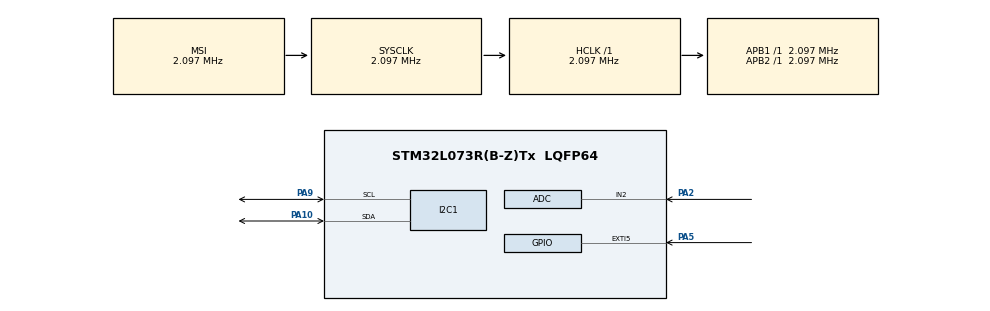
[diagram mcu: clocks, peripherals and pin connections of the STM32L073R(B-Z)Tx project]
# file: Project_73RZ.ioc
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Mcu.Family=STM32L0
Mcu.Name=STM32L073R(B-Z)Tx
Mcu.Package=LQFP64
NVIC.ADC1_COMP_IRQn=true\:0\:0\:false\:false\:true\:true\:true
NVIC.EXTI4_15_IRQn=true\:1\:0\:true\:false\:true\:true\:true
NVIC.I2C1_IRQn=true\:0\:0\:false\:false\:true\:true\:true
PA10.Mode=I2C
PA10.Signal=I2C1_SDA
PA13.Mode=Serial_Wire
PA13.Signal=SYS_SWDIO
PA14.Mode=Serial_Wire
PA14.Signal=SYS_SWCLK
PA2.Mode=IN2
PA2.Signal=ADC_IN2
PA5.Signal=GPXTI5
PA9.Mode=I2C
PA9.Signal=I2C1_SCL
ProjectManager.HeapSize=0x200
ProjectManager.StackSize=0x400
ProjectManager.TargetToolchain=STM32CubeIDE
RCC.AHBFreq_Value=2097000
RCC.APB1Freq_Value=2097000
RCC.APB1TimFreq_Value=2097000
RCC.APB2Freq_Value=2097000
RCC.APB2TimFreq_Value=2097000
RCC.HSE_VALUE=8000000
RCC.HSI16_VALUE=16000000
RCC.HSI48_VALUE=48000000
RCC.HSI_VALUE=16000000
RCC.MSI_VALUE=2097000
RCC.SYSCLKFreq_VALUE=2097000
RCC.VCOOutputFreq_Value=48000000
board=NUCLEO-L073RZ

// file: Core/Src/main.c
/* USER CODE BEGIN Header */
/**
  ******************************************************************************
  * @file           : main.c
  * @brief          : Main program body
  ******************************************************************************
  * @attention
  *
  * <h2><center>&copy; Copyright (c) 2020 STMicroelectronics.
  * All rights reserved.</center></h2>
  *
  * This software component is licensed by ST under BSD 3-Clause license,
  * the "License"; You may not use this file except in compliance with the
  * License. You may obtain a copy of the License at:
  *                        opensource.org/licenses/BSD-3-Clause
  *
  ******************************************************************************
  */
/* USER CODE END Header */

#include "main.h"

ADC_HandleTypeDef hadc;

I2C_HandleTypeDef hi2c1;

/* USER CODE BEGIN PV */

uint8_t temp=0;
int32_t adcValue;

LPS25HB_InterruptTypeDef_st Config;
LPS25HB_MeasureTypeDef_st mesure;
LPS25HB_InterruptDiffStatus_st source_int_reg;
int32_t refrence_pres;
HAL_StatusTypeDef temp1;

uint16_t humidity;
int16_t temperature;

/* USER CODE END PV */

void SystemClock_Config(void);
static void MX_GPIO_Init(void);
static void MX_ADC_Init(void);
static void MX_I2C1_Init(void);

int main(void)
{

  /* MCU Configuration--------------------------------------------------------*/

  /* Reset of all peripherals, Initializes the Flash interface and the Systick. */
  HAL_Init();

  /* Configure the system clock */
  SystemClock_Config();

  /* Initialize all configured peripherals */
  MX_GPIO_Init();
  MX_ADC_Init();
  MX_I2C1_Init();

  /* Infinite loop */
  while (1)
  {

  }
}

void SystemClock_Config(void)
{
  RCC_OscInitTypeDef RCC_OscInitStruct = {0};
  RCC_ClkInitTypeDef RCC_ClkInitStruct = {0};
  RCC_PeriphCLKInitTypeDef PeriphClkInit = {0};

  /** Configure the main internal regulator output voltage
  */
  __HAL_PWR_VOLTAGESCALING_CONFIG(PWR_REGULATOR_VOLTAGE_SCALE1);
  /** Initializes the CPU, AHB and APB busses clocks
  */
  RCC_OscInitStruct.OscillatorType = RCC_OSCILLATORTYPE_MSI;
  RCC_OscInitStruct.MSIState = RCC_MSI_ON;
  RCC_OscInitStruct.MSICalibrationValue = 0;
  RCC_OscInitStruct.MSIClockRange = RCC_MSIRANGE_5;
  RCC_OscInitStruct.PLL.PLLState = RCC_PLL_NONE;
  if (HAL_RCC_OscConfig(&RCC_OscInitStruct) != HAL_OK)
  {
    Error_Handler(__func__);
  }
  /** Initializes the CPU, AHB and APB busses clocks
  */
  RCC_ClkInitStruct.ClockType = RCC_CLOCKTYPE_HCLK|RCC_CLOCKTYPE_SYSCLK
                              |RCC_CLOCKTYPE_PCLK1|RCC_CLOCKTYPE_PCLK2;
  RCC_ClkInitStruct.SYSCLKSource = RCC_SYSCLKSOURCE_MSI;
  RCC_ClkInitStruct.AHBCLKDivider = RCC_SYSCLK_DIV1;
  RCC_ClkInitStruct.APB1CLKDivider = RCC_HCLK_DIV1;
  RCC_ClkInitStruct.APB2CLKDivider = RCC_HCLK_DIV1;

  if (HAL_RCC_ClockConfig(&RCC_ClkInitStruct, FLASH_LATENCY_0) != HAL_OK)
  {
    Error_Handler(__func__);
  }
  PeriphClkInit.PeriphClockSelection = RCC_PERIPHCLK_I2C1;
  PeriphClkInit.I2c1ClockSelection = RCC_I2C1CLKSOURCE_PCLK1;
  if (HAL_RCCEx_PeriphCLKConfig(&PeriphClkInit) != HAL_OK)
  {
    Error_Handler(__func__);
  }
}

static void MX_ADC_Init(void)
{

  ADC_ChannelConfTypeDef sConfig = {0};

  /** Configure the global features of the ADC (Clock, Resolution, Data Alignment and number of conversion)
  */
  hadc.Instance = ADC1;
  hadc.Init.OversamplingMode = DISABLE;
  hadc.Init.ClockPrescaler = ADC_CLOCK_SYNC_PCLK_DIV1;
  hadc.Init.Resolution = ADC_RESOLUTION_12B;
  hadc.Init.SamplingTime = ADC_SAMPLETIME_1CYCLE_5;
  hadc.Init.ScanConvMode = ADC_SCAN_DIRECTION_FORWARD;
  hadc.Init.DataAlign = ADC_DATAALIGN_RIGHT;
  hadc.Init.ContinuousConvMode = DISABLE;
  hadc.Init.DiscontinuousConvMode = DISABLE;
  hadc.Init.ExternalTrigConvEdge = ADC_EXTERNALTRIGCONVEDGE_NONE;
  hadc.Init.ExternalTrigConv = ADC_SOFTWARE_START;
  hadc.Init.DMAContinuousRequests = DISABLE;
  hadc.Init.EOCSelection = ADC_EOC_SINGLE_CONV;
  hadc.Init.Overrun = ADC_OVR_DATA_PRESERVED;
  hadc.Init.LowPowerAutoWait = DISABLE;
  hadc.Init.LowPowerFrequencyMode = DISABLE;
  hadc.Init.LowPowerAutoPowerOff = DISABLE;
  if (HAL_ADC_Init(&hadc) != HAL_OK)
  {
    Error_Handler(__func__);
  }
  /** Configure for the selected ADC regular channel to be converted.
  */
  sConfig.Channel = ADC_CHANNEL_2;
  sConfig.Rank = ADC_RANK_CHANNEL_NUMBER;
  if (HAL_ADC_ConfigChannel(&hadc, &sConfig) != HAL_OK)
  {
    Error_Handler(__func__);
  }

}

static void MX_I2C1_Init(void)
{

  hi2c1.Instance = I2C1;
  hi2c1.Init.Timing = 0x00000708;
  hi2c1.Init.OwnAddress1 = 0;
  hi2c1.Init.AddressingMode = I2C_ADDRESSINGMODE_7BIT;
  hi2c1.Init.DualAddressMode = I2C_DUALADDRESS_DISABLE;
  hi2c1.Init.OwnAddress2 = 0;
  hi2c1.Init.OwnAddress2Masks = I2C_OA2_NOMASK;
  hi2c1.Init.GeneralCallMode = I2C_GENERALCALL_DISABLE;
  hi2c1.Init.NoStretchMode = I2C_NOSTRETCH_DISABLE;
  if (HAL_I2C_Init(&hi2c1) != HAL_OK)
  {
    Error_Handler(__func__);
  }
  /** Configure Analogue filter
  */
  if (HAL_I2CEx_ConfigAnalogFilter(&hi2c1, I2C_ANALOGFILTER_ENABLE) != HAL_OK)
  {
    Error_Handler(__func__);
  }
  /** Configure Digital filter
  */
  if (HAL_I2CEx_ConfigDigitalFilter(&hi2c1, 0) != HAL_OK)
  {
    Error_Handler(__func__);
  }

}

static void MX_GPIO_Init(void){
  GPIO_InitTypeDef GPIO_InitStruct = {0};

  /* GPIO Ports Clock Enable */
  __HAL_RCC_GPIOA_CLK_ENABLE();

  /*Configure GPIO pin : PA5 */
  GPIO_InitStruct.Pin = GPIO_PIN_5;
  GPIO_InitStruct.Mode = GPIO_MODE_IT_RISING;
  GPIO_InitStruct.Pull = GPIO_NOPULL;
  HAL_GPIO_Init(GPIOA, &GPIO_InitStruct);

  /* EXTI interrupt init*/
  HAL_NVIC_SetPriority(EXTI4_15_IRQn, 1, 0);
  HAL_NVIC_EnableIRQ(EXTI4_15_IRQn);

}

/* USER CODE BEGIN 4 */

uint8_t Sensor_IO_Write( void *handle,uint8_t SensorAddr, uint8_t WriteAddr, uint8_t *pBuffer, uint16_t nBytesToWrite ){
    if ( nBytesToWrite > 1 ) WriteAddr |= 0x80;  /* Enable I2C multi-bytes Write */
	temp1=HAL_I2C_Mem_Write_IT(handle,SensorAddr,WriteAddr,1,pBuffer,nBytesToWrite);

	HAL_Delay(2);
	if(temp1!=HAL_OK){
		  return 1;
	  }
	  return 0;
}
uint8_t Sensor_IO_Read( void *handle,uint8_t SensorAddr, uint8_t ReadAddr, uint8_t *pBuffer, uint16_t nBytesToRead ){
	if ( nBytesToRead > 1 ) ReadAddr |= 0x80; /* Enable I2C multi-bytes Read */
	temp1 = HAL_I2C_Mem_Read_IT(handle,SensorAddr,ReadAddr,1,pBuffer,nBytesToRead);

	HAL_Delay(2);
	if(temp1!=HAL_OK){
		  return 1;
	  }
	  return 0;}

void Cycle_Read_Measuments(){

	// Read ADC
	HAL_ADC_Init(&hadc);
	HAL_ADC_Start_IT(&hadc);
	adcValue=HAL_ADC_GetValue(&hadc);
	HAL_ADC_Stop_IT(&hadc);
	HAL_ADC_DeInit(&hadc);

	// Read I2C
	// read pressure and temperature
	HAL_ResumeTick();

	LPS25HB_Get_Measurement(&hi2c1, &mesure);

	LPS25HB_ResetAZ(&hi2c1);
	//read humidity
	HTS221_Get_Measurement(&hi2c1, &humidity, &temperature);

	HAL_SuspendTick();
}

void Sensors_Init(){

	LPS25HB_InterruptTypeDef_st interrupt;

	  interrupt.INT_H_L = (LPS25HB_State_et)LPS25HB_ENABLE;
	  interrupt.LatchIRQ = (LPS25HB_State_et)LPS25HB_ENABLE;
	  interrupt.OutputSignal_INT1 =(LPS25HB_OutputSignalConfig_et)LPS25HB_P_LOW_HIGH;
	  interrupt.PP_OD = (LPS25HB_OutputType_et)LPS25HB_PushPull;
	  interrupt.PressureInterrupt =(LPS25HB_InterruptDiffConfig_et)LPS25HB_PLE_PHE;
	  interrupt.fP_threshold = 0x08;
	  interrupt.DataInterrupt_INT1 = (LPS25HB_DataSignalType_et)LPS25HB_DISABLE_DATA_INT;

	LPS25HB_ConfigTypeDef_st GenericConfig;

	  GenericConfig.AutoZero=LPS25HB_ENABLE;
	  GenericConfig.BDU=LPS25HB_BDU_NO_UPDATE;
	  GenericConfig.OutputDataRate=LPS25HB_ODR_12_5HZ;
	  GenericConfig.PressResolution=LPS25HB_AVGP_32;
	  GenericConfig.Reset_AZ=LPS25HB_ENABLE;

	HTS221_Init_st pxInit;
	  pxInit.avg_h= HTS221_AVGH_16;
	  pxInit.avg_t= HTS221_AVGT_8;
	  pxInit.bdu_status= HTS221_DISABLE;
	  pxInit.odr= HTS221_ODR_12_5HZ ;

	  HAL_ResumeTick();

	  HTS221_Set_InitConfig(&hi2c1, &pxInit);

	  if(LPS25HB_Set_GenericConfig(&hi2c1, &GenericConfig)){
		  Error_Handler(__func__);
	  }

	  if(LPS25HB_Set_InterruptConfig(&hi2c1,&interrupt)!=LPS25HB_OK)
	    {
	  	  Error_Handler(__func__);
	    }

	  if(    LPS25HB_Set_PowerDownMode(&hi2c1, LPS25HB_SET)!=LPS25HB_OK)
	    {
	  	  Error_Handler(__func__);
	    }

	  HAL_SuspendTick();

}

void HAL_ADC_ConvCpltCallback(ADC_HandleTypeDef* hadc)
{
	adcValue=HAL_ADC_GetValue(hadc);
}

void HAL_GPIO_EXTI_Callback(uint16_t GPIO_Pin)
{

}

/* USER CODE END 4 */

void Error_Handler(char const * caller_name)
{
  /* USER CODE BEGIN Error_Handler_Debug */
  /* User can add his own implementation to report the HAL error return state */
	caller_name;
	while(1){

	}
  /* USER CODE END Error_Handler_Debug */
}

/************************ (C) COPYRIGHT STMicroelectronics *****END OF FILE****/
